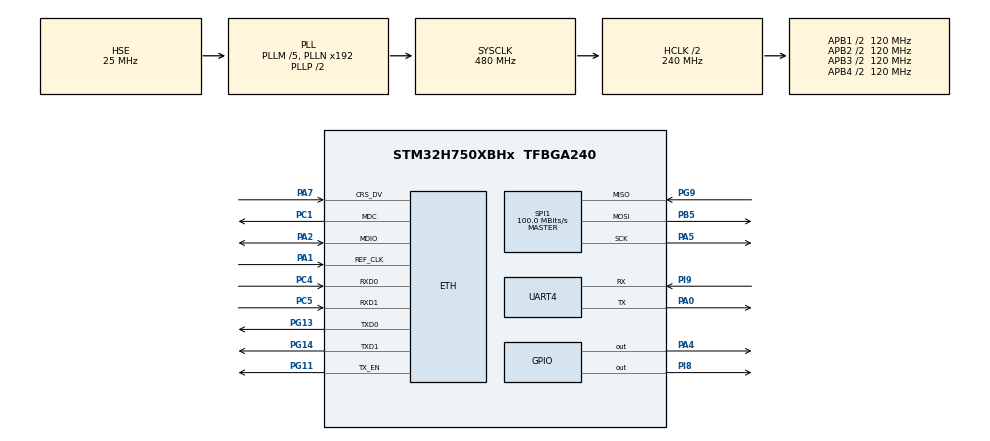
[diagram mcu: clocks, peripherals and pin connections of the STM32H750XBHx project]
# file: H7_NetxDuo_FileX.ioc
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CORTEX_M7.MPU_Control=__NULL
CORTEX_M7.default_mode_Activation=1
ETH.MACAddr=A0\:B0\:C0\:D0\:E0\:F0
ETH.MediaInterface=HAL_ETH_RMII_MODE
Mcu.Family=STM32H7
Mcu.Name=STM32H750XBHx
Mcu.Package=TFBGA240
NVIC.ETH_IRQn=true\:0\:0\:false\:false\:true\:false\:true\:true\:true
NVIC.PriorityGroup=NVIC_PRIORITYGROUP_4
NVIC.TIM1_UP_IRQn=true\:15\:0\:false\:false\:true\:false\:false\:true\:true
NVIC.TimeBase=TIM1_UP_IRQn
NVIC.TimeBaseIP=TIM1
PA0.Mode=Asynchronous
PA0.Signal=UART4_TX
PA1.Mode=RMII
PA1.Signal=ETH_REF_CLK
PA13\ (JTMS/SWDIO).Mode=Serial_Wire
PA13\ (JTMS/SWDIO).Signal=DEBUG_JTMS-SWDIO
PA14\ (JTCK/SWCLK).Mode=Serial_Wire
PA14\ (JTCK/SWCLK).Signal=DEBUG_JTCK-SWCLK
PA2.Mode=RMII
PA2.Signal=ETH_MDIO
PA4.GPIO_Speed=GPIO_SPEED_FREQ_VERY_HIGH
PA4.Signal=GPIO_Output
PA5.GPIO_Speed=GPIO_SPEED_FREQ_VERY_HIGH
PA5.Mode=Full_Duplex_Master
PA5.Signal=SPI1_SCK
PA7.Mode=RMII
PA7.Signal=ETH_CRS_DV
PB5.GPIO_Speed=GPIO_SPEED_FREQ_VERY_HIGH
PB5.Mode=Full_Duplex_Master
PB5.Signal=SPI1_MOSI
PC1.Mode=RMII
PC1.Signal=ETH_MDC
PC4.Mode=RMII
PC4.Signal=ETH_RXD0
PC5.Mode=RMII
PC5.Signal=ETH_RXD1
PG11.Mode=RMII
PG11.Signal=ETH_TX_EN
PG13.Mode=RMII
PG13.Signal=ETH_TXD0
PG14.Mode=RMII
PG14.Signal=ETH_TXD1
PG9.GPIO_Speed=GPIO_SPEED_FREQ_VERY_HIGH
PG9.Mode=Full_Duplex_Master
PG9.Signal=SPI1_MISO
PH0-OSC_IN\ (PH0).Mode=HSE-External-Oscillator
PH0-OSC_IN\ (PH0).Signal=RCC_OSC_IN
PH1-OSC_OUT\ (PH1).Mode=HSE-External-Oscillator
PH1-OSC_OUT\ (PH1).Signal=RCC_OSC_OUT
PI8.Signal=GPIO_Output
PI9.Mode=Asynchronous
PI9.Signal=UART4_RX
ProjectManager.HeapSize=0x400
ProjectManager.StackSize=0x400
ProjectManager.TargetToolchain=STM32CubeIDE
RCC.ADCFreq_Value=200000000
RCC.APB1Freq_Value=120000000
RCC.APB2Freq_Value=120000000
RCC.APB3Freq_Value=120000000
RCC.APB4Freq_Value=120000000
RCC.CortexFreq_Value=480000000
RCC.D1PPRE=RCC_APB3_DIV2
RCC.D2PPRE1=RCC_APB1_DIV2
RCC.D2PPRE2=RCC_APB2_DIV2
RCC.D3PPRE=RCC_APB4_DIV2
RCC.DIVM1=5
RCC.DIVM2=25
RCC.DIVM3=25
RCC.DIVN1=192
RCC.DIVN2=400
RCC.DIVN3=480
RCC.HCLKFreq_Value=240000000
RCC.HPRE=RCC_HCLK_DIV2
RCC.HSE_Timout=1000
RCC.PLLSourceVirtual=RCC_PLLSOURCE_HSE
RCC.SPI123CLockSelection=RCC_SPI123CLKSOURCE_PLL2
RCC.SYSCLKFreq_VALUE=480000000
RCC.SYSCLKSource=RCC_SYSCLKSOURCE_PLLCLK
RCC.USBFreq_Value=480000000
SPI1.BaudRatePrescaler=SPI_BAUDRATEPRESCALER_2
SPI1.CalculateBaudRate=100.0 MBits/s
SPI1.DataSize=SPI_DATASIZE_8BIT
SPI1.Direction=SPI_DIRECTION_2LINES
SPI1.MasterKeepIOState=SPI_MASTER_KEEP_IO_STATE_DISABLE
SPI1.Mode=SPI_MODE_MASTER
SPI1.VirtualType=VM_MASTER
STMicroelectronics.X-CUBE-AZRTOS-H7.2.1.0.FileXCcFileOoSystemJjFileXJjCore=true
STMicroelectronics.X-CUBE-AZRTOS-H7.2.1.0.InterfacesCcFileOoSystemJjFileXOoLevelXOoNOROoOointerface=true
STMicroelectronics.X-CUBE-AZRTOS-H7.2.1.0.InterfacesCcFileOoSystemJjLevelXOoNOROoSimulatorOointerface=true
STMicroelectronics.X-CUBE-AZRTOS-H7.2.1.0.InterfacesCcNetworkJjEthernetOoInterface=true
STMicroelectronics.X-CUBE-AZRTOS-H7.2.1.0.InterfacesCcNetworkJjEthernetOoPhyOoInterface=LAN8742IiPhyIiInterface
STMicroelectronics.X-CUBE-AZRTOS-H7.2.1.0.LevelXCcFileOoSystemJjLevelXJjNOROoFlashOoSupport=true
STMicroelectronics.X-CUBE-AZRTOS-H7.2.1.0.NX_APP_MEM_POOL_SIZE=4096
STMicroelectronics.X-CUBE-AZRTOS-H7.2.1.0.NetXDuoCcNetworkJjNetXDuoJjAddonsOoAutoIP=true
STMicroelectronics.X-CUBE-AZRTOS-H7.2.1.0.NetXDuoCcNetworkJjNetXDuoJjAddonsOoWebOoServer=true
STMicroelectronics.X-CUBE-AZRTOS-H7.2.1.0.NetXDuoCcNetworkJjNetXDuoJjNXOoCore=true
STMicroelectronics.X-CUBE-AZRTOS-H7.2.1.0.NetXDuoCcNetworkJjNetXDuoJjTraceXOoSupport=true
STMicroelectronics.X-CUBE-AZRTOS-H7.2.1.0.STM32CubeIiBSPIiComponentsCcBoardOoPartJjETHPhyJjLAN8742=true
STMicroelectronics.X-CUBE-AZRTOS-H7.2.1.0.TX_APP_MEM_POOL_SIZE=4096
STMicroelectronics.X-CUBE-AZRTOS-H7.2.1.0.TX_TIMER_TICKS_PER_SECOND=1000
STMicroelectronics.X-CUBE-AZRTOS-H7.2.1.0.ThreadXCcRTOSJjThreadXJjCore=true
STMicroelectronics.X-CUBE-AZRTOS-H7.2.1.0.ThreadXCcRTOSJjThreadXJjPerformanceInfo=true
STMicroelectronics.X-CUBE-AZRTOS-H7.2.1.0.ThreadXCcRTOSJjThreadXJjTraceXOosupport=true
STMicroelectronics.X-CUBE-AZRTOS-H7.2.1.0_IsAnAzureRtosMw=true
VP_STMicroelectronics.X-CUBE-AZRTOS-H7_VS_BoardOoPartJjSTM32CubeIiBSPIiComponents_1.1.0_2.1.0.Mode=BoardOoPartJjSTM32CubeIiBSPIiComponents
VP_STMicroelectronics.X-CUBE-AZRTOS-H7_VS_FileOoSystemJjFileX_6.1.10_2.1.0.Mode=FileOoSystemJjFileX
VP_STMicroelectronics.X-CUBE-AZRTOS-H7_VS_FileOoSystemJjInterfaces_2.1.0_2.1.0.Mode=FileOoSystemJjInterfaces
VP_STMicroelectronics.X-CUBE-AZRTOS-H7_VS_FileOoSystemJjLevelX_6.1.10_2.1.0.Mode=FileOoSystemJjLevelX
VP_STMicroelectronics.X-CUBE-AZRTOS-H7_VS_NetworkJjInterfaces_2.1.0_2.1.0.Mode=NetworkJjInterfaces
VP_STMicroelectronics.X-CUBE-AZRTOS-H7_VS_NetworkJjNetXDuo_6.1.10_2.1.0.Mode=NetworkJjNetXDuo
VP_STMicroelectronics.X-CUBE-AZRTOS-H7_VS_RTOSJjThreadX_6.1.10_2.1.0.Mode=RTOSJjThreadX
VP_SYS_VS_tim1.Mode=TIM1
board=custom

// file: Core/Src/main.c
/* USER CODE BEGIN Header */
/**
  ******************************************************************************
  * @file           : main.c
  * @brief          : Main program body
  ******************************************************************************
  * @attention
  *
  * Copyright (c) 2022 STMicroelectronics.
  * All rights reserved.
  *
  * This software is licensed under terms that can be found in the LICENSE file
  * in the root directory of this software component.
  * If no LICENSE file comes with this software, it is provided AS-IS.
  *
  ******************************************************************************
  */
/* USER CODE END Header */
#include "main.h"
#include "app_threadx.h"
#include "eth.h"
#include "spi.h"
#include "usart.h"
#include "gpio.h"

/* USER CODE BEGIN Includes */
#include <stdio.h>
#include "W25QXX.h"
/* USER CODE END Includes */

void SystemClock_Config(void);

/* USER CODE BEGIN 0 */
static void interrupt_vector_table(void)
{
  /* Vector Table Relocation in Internal QSPI_FLASH */
  SCB->VTOR = QSPI_BASE;
}

static void printf_Logo(void)
{
  printf("                                                          \r\n");
  printf("       _   __       __  _  __    ___     ____   ____      \r\n");
  printf("      / | / /___   / /_| |/ /   /   |   / __ \\ / __ \\   \r\n");
  printf("     /  |/ // _ \\ / __/|   /   / /| |  / /_/ // /_/ /    \r\n");
  printf("    / /|  //  __// /_ /   |   / ___ | / ____// ____/      \r\n");
  printf("   /_/ |_/ \\___/ \\__//_/|_|  /_/  |_|/_/    /_/         \r\n");
  printf("                                                          \r\n");
  printf("              This Is NetxDuo Application.                \r\n");
  printf("                                                          \r\n");
}
/* USER CODE END 0 */

int main(void)
{
  /* USER CODE BEGIN 1 */
  interrupt_vector_table();
  /* USER CODE END 1 */

  /* MCU Configuration--------------------------------------------------------*/

  /* Reset of all peripherals, Initializes the Flash interface and the Systick. */
  HAL_Init();

  /* USER CODE BEGIN Init */
  __set_PRIMASK(0);
  /* USER CODE END Init */

  /* Configure the system clock */
  SystemClock_Config();

  /* Initialize all configured peripherals */
  MX_GPIO_Init();
  MX_UART4_Init();
  MX_ETH_Init();
  MX_SPI1_Init();
  /* USER CODE BEGIN 2 */
  printf_Logo();
  /* nor flash init */
  BSP_W25QXX_Init();
  /* USER CODE END 2 */

  MX_ThreadX_Init();

  /* We should never get here as control is now taken by the scheduler */
  /* Infinite loop */
  while (1)
  {

  }
}

void SystemClock_Config(void)
{
  RCC_OscInitTypeDef RCC_OscInitStruct = {0};
  RCC_ClkInitTypeDef RCC_ClkInitStruct = {0};

  /** Supply configuration update enable
  */
  HAL_PWREx_ConfigSupply(PWR_LDO_SUPPLY);

  /** Configure the main internal regulator output voltage
  */
  __HAL_PWR_VOLTAGESCALING_CONFIG(PWR_REGULATOR_VOLTAGE_SCALE1);

  while(!__HAL_PWR_GET_FLAG(PWR_FLAG_VOSRDY)) {}

  __HAL_RCC_SYSCFG_CLK_ENABLE();
  __HAL_PWR_VOLTAGESCALING_CONFIG(PWR_REGULATOR_VOLTAGE_SCALE0);

  while(!__HAL_PWR_GET_FLAG(PWR_FLAG_VOSRDY)) {}

  /** Macro to configure the PLL clock source
  */
  __HAL_RCC_PLL_PLLSOURCE_CONFIG(RCC_PLLSOURCE_HSE);

  /** Initializes the RCC Oscillators according to the specified parameters
  * in the RCC_OscInitTypeDef structure.
  */
  RCC_OscInitStruct.OscillatorType = RCC_OSCILLATORTYPE_HSE;
  RCC_OscInitStruct.HSEState = RCC_HSE_ON;
  RCC_OscInitStruct.PLL.PLLState = RCC_PLL_ON;
  RCC_OscInitStruct.PLL.PLLSource = RCC_PLLSOURCE_HSE;
  RCC_OscInitStruct.PLL.PLLM = 5;
  RCC_OscInitStruct.PLL.PLLN = 192;
  RCC_OscInitStruct.PLL.PLLP = 2;
  RCC_OscInitStruct.PLL.PLLQ = 2;
  RCC_OscInitStruct.PLL.PLLR = 2;
  RCC_OscInitStruct.PLL.PLLRGE = RCC_PLL1VCIRANGE_2;
  RCC_OscInitStruct.PLL.PLLVCOSEL = RCC_PLL1VCOWIDE;
  RCC_OscInitStruct.PLL.PLLFRACN = 0;
  if (HAL_RCC_OscConfig(&RCC_OscInitStruct) != HAL_OK)
  {
    Error_Handler();
  }

  /** Initializes the CPU, AHB and APB buses clocks
  */
  RCC_ClkInitStruct.ClockType = RCC_CLOCKTYPE_HCLK|RCC_CLOCKTYPE_SYSCLK
                              |RCC_CLOCKTYPE_PCLK1|RCC_CLOCKTYPE_PCLK2
                              |RCC_CLOCKTYPE_D3PCLK1|RCC_CLOCKTYPE_D1PCLK1;
  RCC_ClkInitStruct.SYSCLKSource = RCC_SYSCLKSOURCE_PLLCLK;
  RCC_ClkInitStruct.SYSCLKDivider = RCC_SYSCLK_DIV1;
  RCC_ClkInitStruct.AHBCLKDivider = RCC_HCLK_DIV2;
  RCC_ClkInitStruct.APB3CLKDivider = RCC_APB3_DIV2;
  RCC_ClkInitStruct.APB1CLKDivider = RCC_APB1_DIV2;
  RCC_ClkInitStruct.APB2CLKDivider = RCC_APB2_DIV2;
  RCC_ClkInitStruct.APB4CLKDivider = RCC_APB4_DIV2;

  if (HAL_RCC_ClockConfig(&RCC_ClkInitStruct, FLASH_LATENCY_4) != HAL_OK)
  {
    Error_Handler();
  }
}

void HAL_TIM_PeriodElapsedCallback(TIM_HandleTypeDef *htim)
{
  if (htim->Instance == TIM1) {
    HAL_IncTick();
  }
}

void Error_Handler(void)
{
  __disable_irq();
  while (1)
  {
  }
}

#ifdef  USE_FULL_ASSERT
/**
  * @brief  Reports the name of the source file and the source line number
  *         where the assert_param error has occurred.
  * @param  file: pointer to the source file name
  * @param  line: assert_param error line source number
  * @retval None
  */
void assert_failed(uint8_t *file, uint32_t line)
{
  /* USER CODE BEGIN 6 */
  /* User can add his own implementation to report the file name and line number,
     ex: printf("Wrong parameters value: file %s on line %d\r\n", file, line) */
	printf("Wrong parameters value: file %s on line %d\r\n", file, line);
  /* USER CODE END 6 */
}
#endif /* USE_FULL_ASSERT */
